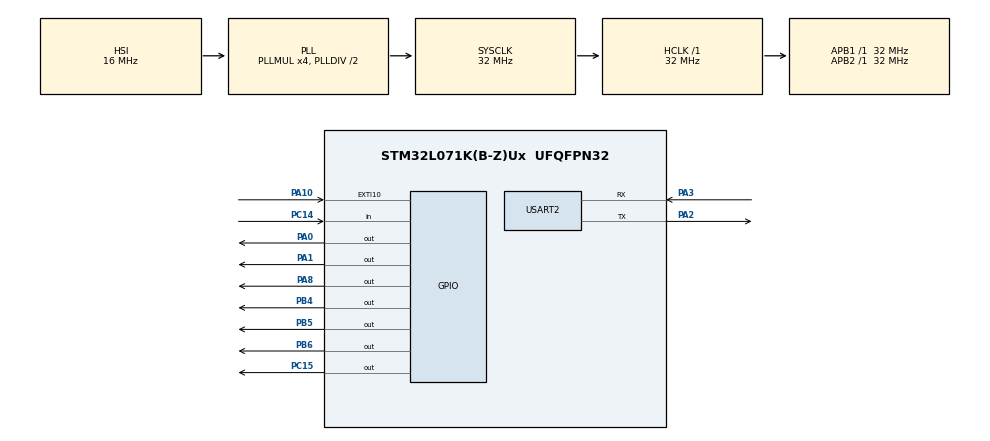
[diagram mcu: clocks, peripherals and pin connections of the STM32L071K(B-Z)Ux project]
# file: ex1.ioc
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Dma.MEMTOMEM.0.Direction=DMA_MEMORY_TO_MEMORY
Dma.MEMTOMEM.0.Instance=DMA1_Channel1
Dma.MEMTOMEM.0.MemDataAlignment=DMA_MDATAALIGN_BYTE
Dma.MEMTOMEM.0.MemInc=DMA_MINC_ENABLE
Dma.MEMTOMEM.0.Mode=DMA_NORMAL
Dma.MEMTOMEM.0.PeriphDataAlignment=DMA_PDATAALIGN_BYTE
Dma.MEMTOMEM.0.PeriphInc=DMA_PINC_ENABLE
Dma.MEMTOMEM.0.Priority=DMA_PRIORITY_LOW
Dma.Request0=MEMTOMEM
Dma.Request1=USART2_RX
Dma.USART2_RX.1.Direction=DMA_PERIPH_TO_MEMORY
Dma.USART2_RX.1.Instance=DMA1_Channel5
Dma.USART2_RX.1.MemDataAlignment=DMA_MDATAALIGN_BYTE
Dma.USART2_RX.1.MemInc=DMA_MINC_ENABLE
Dma.USART2_RX.1.Mode=DMA_NORMAL
Dma.USART2_RX.1.PeriphDataAlignment=DMA_PDATAALIGN_BYTE
Dma.USART2_RX.1.PeriphInc=DMA_PINC_DISABLE
Dma.USART2_RX.1.Priority=DMA_PRIORITY_LOW
Mcu.Family=STM32L0
Mcu.Name=STM32L071K(B-Z)Ux
Mcu.Package=UFQFPN32
NVIC.DMA1_Channel1_IRQn=true\:0\:0\:false\:false\:true\:true\:true
NVIC.DMA1_Channel4_5_6_7_IRQn=true\:0\:0\:false\:false\:true\:false\:true
NVIC.EXTI4_15_IRQn=true\:0\:0\:false\:false\:true\:true\:true
NVIC.TIM6_IRQn=true\:0\:0\:false\:false\:true\:true\:true
NVIC.USART2_IRQn=true\:0\:0\:false\:false\:true\:true\:true
PA0.Signal=GPIO_Output
PA1.Signal=GPIO_Output
PA10.GPIO_PuPd=GPIO_PULLUP
PA10.Signal=GPXTI10
PA13.Mode=Serial_Wire
PA13.Signal=SYS_SWDIO
PA14.Mode=Serial_Wire
PA14.Signal=SYS_SWCLK
PA2.Mode=Asynchronous
PA2.Signal=USART2_TX
PA3.Mode=Asynchronous
PA3.Signal=USART2_RX
PA8.Signal=GPIO_Output
PB4.Signal=GPIO_Output
PB5.Signal=GPIO_Output
PB6.Signal=GPIO_Output
PC14-OSC32_IN.Signal=GPIO_Input
PC15-OSC32_OUT.Signal=GPIO_Output
ProjectManager.HeapSize=0x200
ProjectManager.StackSize=0x400
ProjectManager.TargetToolchain=MDK-ARM V5
RCC.AHBFreq_Value=32000000
RCC.APB1Freq_Value=32000000
RCC.APB1TimFreq_Value=32000000
RCC.APB2Freq_Value=32000000
RCC.APB2TimFreq_Value=32000000
RCC.HCLKFreq_Value=32000000
RCC.HSI16_VALUE=16000000
RCC.HSI_VALUE=16000000
RCC.LSE_VALUE=32768
RCC.MSI_VALUE=2097000
RCC.PLLMUL=RCC_PLLMUL_4
RCC.SYSCLKFreq_VALUE=32000000
RCC.SYSCLKSource=RCC_SYSCLKSOURCE_PLLCLK
RCC.VCOOutputFreq_Value=64000000
RTC.Format=RTC_FORMAT_BIN
RTC.SynchPrediv=307
TIM6.Period=999
TIM6.Prescaler=31
USART2.VirtualMode-Asynchronous=VM_ASYNC
VP_CRC_VS_CRC.Mode=CRC_Activate
VP_RTC_VS_RTC_Activate.Mode=RTC_Enabled
VP_RTC_VS_RTC_Calendar.Mode=RTC_Calendar
VP_TIM6_VS_ClockSourceINT.Mode=Enable_Timer
board=custom

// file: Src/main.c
/* USER CODE BEGIN Header */
/**
  ******************************************************************************
  * @file           : main.c
  * @brief          : Main program body
  ******************************************************************************
  * @attention
  *
  * <h2><center>&copy; Copyright (c) 2019 STMicroelectronics.
  * All rights reserved.</center></h2>
  *
  * This software component is licensed by ST under BSD 3-Clause license,
  * the "License"; You may not use this file except in compliance with the
  * License. You may obtain a copy of the License at:
  *                        opensource.org/licenses/BSD-3-Clause
  *
  ******************************************************************************
  */
/* USER CODE END Header */

#include "main.h"
#include "crc.h"
#include "dma.h"
#include "rtc.h"
#include "tim.h"
#include "usart.h"
#include "gpio.h"

/* USER CODE BEGIN Includes */
#include "stm32l0xx_hal.h"
#include "zm4xx_gpio.h"
#include "spi.h"
#include "timer.h"
#include "stddef.h"
#include "sx127x_lora.h"
/* USER CODE END Includes */

/* USER CODE BEGIN PTD */
#define FREQ  (433000000)
void SystemClock_Config(void);
void Hardware_Init(void);
radio_handle_t  handle;
int ret = RADIO_RET_OK;

    uint16_t len = 0;
		uint8_t rx[100];
		uint8_t tx = 0x55;
		uint8_t cntr = 0;
	unsigned int reply_flag=0;
	unsigned int time_i=0,time_100ms=1,time_2s=1;
/* USER CODE END PTD */

void SystemClock_Config(void);

/* USER CODE BEGIN 0 */
void Task_BrdInit(void)
{
    HAL_GPIO_WritePin(GPIOC, GPIO_PIN_15, GPIO_PIN_SET);

    OLED_PowerControl(ENABLE);

    HAL_Delay(200);
    OLED_Init();
    OLED_Clear();

    OLED_ShowString(0, 0, (unsigned char *)"                ", 16);
    OLED_ShowString(0, 2, (unsigned char *)"                ", 16);
}
void LoRa_Init(void)
{

	handle = radio_zm4xx_inst_init(spi_recv_byte,spi_send_byte,zm4xx_rst_pin_set,zm4xx_sel_pin_set,delay_ms,delay_us);

	if(handle != NULL){
		if(RADIO_RET_OK == radio_freq_set(handle, FREQ)){
				HAL_GPIO_WritePin(GPIOC, GPIO_PIN_15,GPIO_PIN_RESET);
		}

		radio_mode_set(handle, RX_MODE);	//Receive Mode
	}
}
void terminal(void);
/* USER CODE END 0 */

int main(void)
{
  /* USER CODE BEGIN 1 */
    char lcdLine_1st_line[16];
    char lcdLine_2st_line[16];

  /* USER CODE END 1 */

  /* MCU Configuration--------------------------------------------------------*/

  /* Reset of all peripherals, Initializes the Flash interface and the Systick. */
  HAL_Init();

  /* Configure the system clock */
  SystemClock_Config();

  /* Initialize all configured peripherals */
  MX_GPIO_Init();
  MX_DMA_Init();
  MX_CRC_Init();
  MX_TIM6_Init();
  MX_USART2_UART_Init();
  MX_RTC_Init();
  /* USER CODE BEGIN 2 */
    Task_BrdInit();
		zm4xx_pin_init(); //LORA��Ҫ
    spi_init();//LORA��Ҫ
		LoRa_Init();
	HAL_TIM_Base_Start_IT(&htim6);
  /* USER CODE END 2 */

  /* Infinite loop */
    while (1)
    {

    /* USER CODE BEGIN 3 */
			OLED_ShowString(0, 0, (unsigned char *)lcdLine_1st_line, 16);
			OLED_ShowString(0, 2, rx, 16);
			if(time_100ms==1)
			{
				radio_buf_send(handle, (unsigned char *)lcdLine_1st_line, sizeof(lcdLine_1st_line));
				radio_mode_set(handle, RX_MODE);
				time_100ms=0;
			}
			if(time_2s==1)
			{
				sprintf(lcdLine_1st_line, "%d",(rand()%21+10));
				time_2s=0;
			}
			terminal();
    }
  /* USER CODE END 3 */
}
/* USER CODE BEGIN 4 */
void terminal()
{
	if(reply_flag==1)
	{
		ret = radio_buf_recv(handle, rx, &len);
		reply_flag=0;
		if(ret == RADIO_RET_OK)
		{
//			HAL_GPIO_TogglePin(GPIOC,GPIO_PIN_15);
		}
	}
}
void HAL_GPIO_EXTI_Callback(uint16_t GPIO_Pin)
{
	if(GPIO_Pin==GPIO_PIN_10)
	{
		reply_flag=1;
	}
}
void HAL_TIM_PeriodElapsedCallback(TIM_HandleTypeDef *htim)
{
	if(htim->Instance==TIM6)
	{
		time_i++;
		if(time_i==9999)	time_i=0;
		if(time_i%1000==0)
		{
			time_100ms=!time_100ms;
		}
		if(time_i%2000==0)
		{
			time_2s=!time_2s;
		}
	}
}
//	ret = radio_buf_recv(handle, &rx, &len);
//			if(ret == RADIO_RET_OK){
//				if(rx == 0xAA){
//						HAL_GPIO_TogglePin(GPIOC, GPIO_PIN_15);
//				}
//			}
//
//			if(++cntr == 40){
//				radio_buf_send(handle, &tx, 1); 	//
//				radio_mode_set(handle, RX_MODE);
//				cntr = 0;
//			}
/* USER CODE END 4 */
void SystemClock_Config(void)
{
  RCC_OscInitTypeDef RCC_OscInitStruct = {0};
  RCC_ClkInitTypeDef RCC_ClkInitStruct = {0};
  RCC_PeriphCLKInitTypeDef PeriphClkInit = {0};

  /** Configure the main internal regulator output voltage
  */
  __HAL_PWR_VOLTAGESCALING_CONFIG(PWR_REGULATOR_VOLTAGE_SCALE1);
  /** Initializes the CPU, AHB and APB busses clocks
  */
  RCC_OscInitStruct.OscillatorType = RCC_OSCILLATORTYPE_HSI|RCC_OSCILLATORTYPE_LSI;
  RCC_OscInitStruct.HSIState = RCC_HSI_ON;
  RCC_OscInitStruct.HSICalibrationValue = RCC_HSICALIBRATION_DEFAULT;
  RCC_OscInitStruct.LSIState = RCC_LSI_ON;
  RCC_OscInitStruct.PLL.PLLState = RCC_PLL_ON;
  RCC_OscInitStruct.PLL.PLLSource = RCC_PLLSOURCE_HSI;
  RCC_OscInitStruct.PLL.PLLMUL = RCC_PLLMUL_4;
  RCC_OscInitStruct.PLL.PLLDIV = RCC_PLLDIV_2;
  if (HAL_RCC_OscConfig(&RCC_OscInitStruct) != HAL_OK)
  {
    Error_Handler();
  }
  /** Initializes the CPU, AHB and APB busses clocks
  */
  RCC_ClkInitStruct.ClockType = RCC_CLOCKTYPE_HCLK|RCC_CLOCKTYPE_SYSCLK
                              |RCC_CLOCKTYPE_PCLK1|RCC_CLOCKTYPE_PCLK2;
  RCC_ClkInitStruct.SYSCLKSource = RCC_SYSCLKSOURCE_PLLCLK;
  RCC_ClkInitStruct.AHBCLKDivider = RCC_SYSCLK_DIV1;
  RCC_ClkInitStruct.APB1CLKDivider = RCC_HCLK_DIV1;
  RCC_ClkInitStruct.APB2CLKDivider = RCC_HCLK_DIV1;

  if (HAL_RCC_ClockConfig(&RCC_ClkInitStruct, FLASH_LATENCY_1) != HAL_OK)
  {
    Error_Handler();
  }
  PeriphClkInit.PeriphClockSelection = RCC_PERIPHCLK_USART2|RCC_PERIPHCLK_RTC;
  PeriphClkInit.Usart2ClockSelection = RCC_USART2CLKSOURCE_PCLK1;
  PeriphClkInit.RTCClockSelection = RCC_RTCCLKSOURCE_LSI;
  if (HAL_RCCEx_PeriphCLKConfig(&PeriphClkInit) != HAL_OK)
  {
    Error_Handler();
  }
}

void Error_Handler(void)
{
}

/************************ (C) COPYRIGHT STMicroelectronics *****END OF FILE****/
